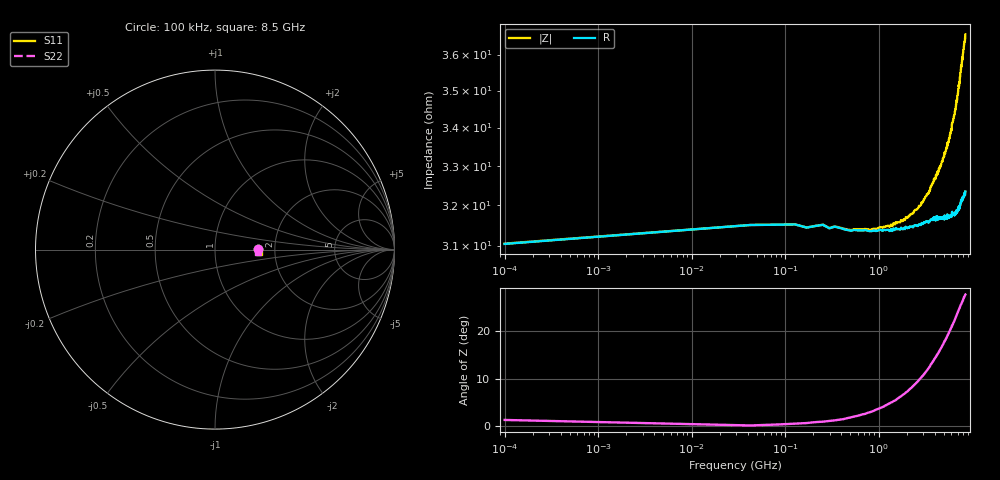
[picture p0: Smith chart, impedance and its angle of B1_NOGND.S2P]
!Keysight Technologies,E5071C,MY46733702,B.14.02
!Date: Sat Jan 27 12:01:24 2024
!Data & Calibration Information:
!Freq	S33:SOLT2(ON)	S43:SOLT2(ON)	S34:SOLT2(ON)	S44:SOLT2(ON)
!PortZ  Port3:50+j0  Port4:50+j0
!Above PortZ is port z conversion or system Z0 setting when saving the data.
!When reading, reference impedance value at option line is always used.
# Hz S dB R 50
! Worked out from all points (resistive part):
!   201 points, 100 kHz to 8.5 GHz, reference 50 ohm
!   read as one part in series: R = 31.5 ohm at 42.6 MHz
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100000  -12.50 0.4  -2.35 -0.4  -2.35 -0.3  -12.50 0.9
4.25995e7  -12.43 -0.2  -2.39 -0.1  -2.40 -0.1  -12.47 -0.2
1.275985e8  -12.41 -0.1  -2.39 -0.3  -2.40 -0.3  -12.49 -0.4
5.95093e8  -12.43 -0.3  -2.38 -1.1  -2.41 -1.2  -12.59 -0.9
1.445083e9  -12.47 -0.5  -2.40 -2.6  -2.42 -2.8  -12.61 -1.5
2.847566e9  -12.51 -1.2  -2.43 -5.1  -2.44 -5.3  -12.63 -2.3
3.485059e9  -12.51 -1.6  -2.44 -6.2  -2.44 -6.3  -12.59 -2.0
3.910054e9  -12.51 -1.6  -2.45 -6.9  -2.44 -6.9  -12.48 -1.5
4.080052e9  -12.53 -1.6  -2.45 -7.2  -2.44 -7.1  -12.50 -1.4
4.25005e9  -12.49 -1.7  -2.46 -7.5  -2.44 -7.4  -12.46 -1.6
4.29255e9  -12.55 -1.7  -2.45 -7.6  -2.44 -7.5  -12.47 -1.5
4.887542e9  -12.49 -1.9  -2.46 -8.6  -2.44 -8.5  -12.44 -1.6
4.930042e9  -12.54 -1.8  -2.47 -8.7  -2.44 -8.5  -12.43 -1.5
5.14254e9  -12.53 -2.0  -2.47 -9.0  -2.43 -8.9  -12.43 -1.6
5.695033e9  -12.51 -2.1  -2.48 -10.0  -2.46 -9.9  -12.46 -2.1
6.332526e9  -12.48 -2.2  -2.50 -11.2  -2.50 -11.2  -12.55 -2.4
7.097516e9  -12.44 -2.3  -2.52 -12.5  -2.52 -12.6  -12.52 -2.5
7.820008e9  -12.37 -2.6  -2.55 -13.8  -2.56 -13.8  -12.46 -2.7
8.202504e9  -12.31 -2.5  -2.56 -14.4  -2.58 -14.5  -12.49 -2.8
8.372502e9  -12.29 -2.6  -2.55 -14.6  -2.59 -14.8  -12.43 -3.0
8.415001e9  -12.27 -2.6  -2.56 -14.7  -2.58 -14.9  -12.48 -3.1
8.5e9  -12.26 -2.6  -2.56 -14.8  -2.59 -15.0  -12.42 -3.1
